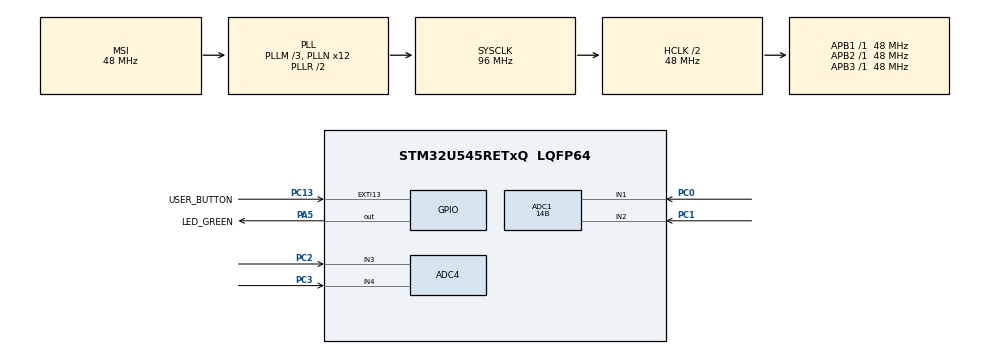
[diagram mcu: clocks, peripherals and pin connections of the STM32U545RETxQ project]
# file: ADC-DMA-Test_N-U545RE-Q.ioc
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ADC1.Channel-0\#ChannelRegularConversion=ADC_CHANNEL_VREFINT
ADC1.Channel-1\#ChannelRegularConversion=ADC_CHANNEL_1
ADC1.Channel-2\#ChannelRegularConversion=ADC_CHANNEL_2
ADC1.Channel-3\#ChannelRegularConversion=ADC_CHANNEL_TEMPSENSOR
ADC1.ContinuousConvMode=ENABLE
ADC1.ConversionDataManagement=ADC_CONVERSIONDATA_DMA_CIRCULAR
ADC1.DMAContinuousRequests=ENABLE
ADC1.MonitoredBy-0\#ChannelRegularConversion=__NULL
ADC1.MonitoredBy-1\#ChannelRegularConversion=__NULL
ADC1.MonitoredBy-2\#ChannelRegularConversion=__NULL
ADC1.MonitoredBy-3\#ChannelRegularConversion=__NULL
ADC1.NbrOfConversion=4
ADC1.NbrOfConversionFlag=1
ADC1.OffsetNumber-0\#ChannelRegularConversion=ADC_OFFSET_NONE
ADC1.OffsetNumber-1\#ChannelRegularConversion=ADC_OFFSET_NONE
ADC1.OffsetNumber-2\#ChannelRegularConversion=ADC_OFFSET_NONE
ADC1.OffsetNumber-3\#ChannelRegularConversion=ADC_OFFSET_NONE
ADC1.Overrun=ADC_OVR_DATA_OVERWRITTEN
ADC1.Rank-0\#ChannelRegularConversion=1
ADC1.Rank-1\#ChannelRegularConversion=2
ADC1.Rank-2\#ChannelRegularConversion=3
ADC1.Rank-3\#ChannelRegularConversion=4
ADC1.Resolution=ADC_RESOLUTION_14B
ADC1.SamplingTime-0\#ChannelRegularConversion=ADC_SAMPLETIME_814CYCLES
ADC1.SamplingTime-1\#ChannelRegularConversion=ADC_SAMPLETIME_814CYCLES
ADC1.SamplingTime-2\#ChannelRegularConversion=ADC_SAMPLETIME_814CYCLES
ADC1.SamplingTime-3\#ChannelRegularConversion=ADC_SAMPLETIME_814CYCLES
ADC1.TriggerFrequencyMode=ADC_TRIGGER_FREQ_LOW
ADC1.master=1
ADC4.Channel-0\#ChannelRegularConversion=ADC_CHANNEL_3
ADC4.Channel-1\#ChannelRegularConversion=ADC_CHANNEL_4
ADC4.ContinuousConvMode=ENABLE
ADC4.DMAContinuousRequests=ENABLE
ADC4.EOCSelection=ADC_EOC_SEQ_CONV
ADC4.NbrOfConversion=2
ADC4.NbrOfConversionFlag=1
ADC4.OffsetNumber-0\#ChannelRegularConversion=ADC_OFFSET_NONE
ADC4.OffsetNumber-1\#ChannelRegularConversion=ADC_OFFSET_NONE
ADC4.Overrun=ADC_OVR_DATA_OVERWRITTEN
ADC4.Rank-0\#ChannelRegularConversion=1
ADC4.Rank-1\#ChannelRegularConversion=2
ADC4.RankArg-0\#ChannelRegularConversion=ADC4_REGULAR_RANK_1
ADC4.RankArg-1\#ChannelRegularConversion=ADC4_REGULAR_RANK_2
ADC4.SamplingTime-0\#ChannelRegularConversion=ADC4_SAMPLINGTIME_COMMON_1
ADC4.SamplingTime-1\#ChannelRegularConversion=ADC4_SAMPLINGTIME_COMMON_1
ADC4.SamplingTimeCommon1=ADC4_SAMPLETIME_814CYCLES_5
ADC4.SamplingTimeCommon2=ADC4_SAMPLETIME_1CYCLE_5
ADC4.SelectedChannel=ADC_CHANNEL_3|ADC_CHANNEL_4
CORTEX_M33_NS.userName=CORTEX_M33
GPDMA1.CIRCULARMODE_GPDMACH0=ENABLE
GPDMA1.CIRCULARMODE_GPDMACH1=ENABLE
GPDMA1.DESTDATAWIDTH_GPDMACH0=DMA_DEST_DATAWIDTH_WORD
GPDMA1.DESTDATAWIDTH_GPDMACH1=DMA_DEST_DATAWIDTH_WORD
GPDMA1.DESTINC_GPDMACH0=DMA_DINC_INCREMENTED
GPDMA1.DESTINC_GPDMACH1=DMA_DINC_INCREMENTED
GPDMA1.IPHANDLE_GPDMACH0-SIMPLEREQUEST_GPDMACH0=__NULL
GPDMA1.IPHANDLE_GPDMACH1-SIMPLEREQUEST_GPDMACH1=__NULL
GPDMA1.REQUEST_GPDMACH0=GPDMA1_REQUEST_ADC4
GPDMA1.REQUEST_GPDMACH1=GPDMA1_REQUEST_ADC1
GPDMA1.SRCDATAWIDTH_GPDMACH0=DMA_SRC_DATAWIDTH_WORD
GPDMA1.SRCDATAWIDTH_GPDMACH1=DMA_SRC_DATAWIDTH_WORD
Mcu.Family=STM32U5
Mcu.Name=STM32U545RETxQ
Mcu.Package=LQFP64
NVIC.GPDMA1_Channel0_IRQn=true\:0\:0\:false\:false\:true\:true\:true\:true
NVIC.GPDMA1_Channel1_IRQn=true\:0\:0\:false\:false\:true\:true\:true\:true
NVIC.PriorityGroup=NVIC_PRIORITYGROUP_4
PA13\ (JTMS/SWDIO).Mode=Trace_Asynchronous_SW
PA13\ (JTMS/SWDIO).Signal=DEBUG_JTMS-SWDIO
PA14\ (JTCK/SWCLK).Mode=Trace_Asynchronous_SW
PA14\ (JTCK/SWCLK).Signal=DEBUG_JTCK-SWCLK
PA5.GPIO_Label=LED_GREEN
PA5.GPIO_PuPd=GPIO_PULLUP
PA5.GPIO_Speed=GPIO_SPEED_FREQ_HIGH
PA5.Signal=GPIO_Output
PB3\ (JTDO/TRACESWO).Mode=Trace_Asynchronous_SW
PB3\ (JTDO/TRACESWO).Signal=DEBUG_JTDO-SWO
PC0.Mode=IN1-Single-Ended
PC0.Signal=ADC1_IN1
PC1.Mode=IN2-Single-Ended
PC1.Signal=ADC1_IN2
PC13.GPIO_Label=USER_BUTTON
PC13.GPIO_ModeDefaultEXTI=GPIO_MODE_IT_FALLING
PC13.GPIO_PuPd=GPIO_PULLDOWN
PC13.Signal=GPXTI13
PC2.Mode=IN3
PC2.Signal=ADC4_IN3
PC3.Mode=IN4
PC3.Signal=ADC4_IN4
PWR.PowerMode=PWR_SMPS_SUPPLY
ProjectManager.HeapSize=0x200
ProjectManager.StackSize=0x400
ProjectManager.TargetToolchain=STM32CubeIDE
RCC.ADCCLockSelection=RCC_ADCDACCLKSOURCE_PLL2
RCC.ADCFreq_Value=4000000
RCC.AHBCLKDivider=RCC_SYSCLK_DIV2
RCC.AHBFreq_Value=48000000
RCC.APB1Freq_Value=48000000
RCC.APB1TimFreq_Value=48000000
RCC.APB2Freq_Value=48000000
RCC.APB2TimFreq_Value=48000000
RCC.APB3Freq_Value=48000000
RCC.CortexFreq_Value=48000000
RCC.DACCLockSelectionVirtual=RCC_DAC1CLKSOURCE_LSI
RCC.DACCLockSelectionVirtualString=RCC_DAC1CLKSOURCE_LSI
RCC.EPOD_VALUE=48000000
RCC.HCLKFreq_Value=48000000
RCC.HSE_VALUE=16000000
RCC.HSI48_VALUE=48000000
RCC.HSI_VALUE=16000000
RCC.LSE_VALUE=32768
RCC.LSIDIV_VALUE=32000
RCC.MSIClockRange=RCC_MSIRANGE_0
RCC.MSI_VALUE=48000000
RCC.PLL2FRACN=0
RCC.PLL2M=3
RCC.PLL2N=8
RCC.PLL2R=32
RCC.PLL3FRACN=0
RCC.PLLFRACN=0
RCC.PLLM=3
RCC.PLLN=12
RCC.SYSCLKFreq_VALUE=96000000
RCC.SYSCLKSource=RCC_SYSCLKSOURCE_PLLCLK
RCC.USBFreq_Value=48000000
RCC.VCOOutputFreq_Value=192000000
VP_ADC1_TempSens_Input.Mode=IN-TempSens
VP_ADC1_Vref_Input.Mode=IN-Vrefint
VP_GPDMA1_VS_GPDMACH0.Mode=SIMPLEREQUEST_GPDMACH0
VP_GPDMA1_VS_GPDMACH1.Mode=SIMPLEREQUEST_GPDMACH1
VP_ICACHE_VS_ICACHE.Mode=DirectMappedCache
VP_LPBAMQUEUE_VS_QUEUE.Mode=QUEUEMODE
VP_LPBAM_VS_SIG1.Mode=SmartRun
VP_LPBAM_VS_SIG4.Mode=LPDMA1
VP_MEMORYMAP_VS_MEMORYMAP.Mode=CurAppReg
VP_NUCLEO-U545RE-Q_VS_BSP_COMMON.Mode=COMMON
VP_PWR_VS_LPOM.Mode=PowerOptimisation
VP_PWR_VS_SECSignals.Mode=Security/Privilege
VP_PWR_Vdda.Mode=isolationVdda
board=NUCLEO-U545RE-Q

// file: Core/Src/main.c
/* USER CODE BEGIN Header */
/**
  ******************************************************************************
  * @file           : main.c
  * @brief          : Main program body
  ******************************************************************************
  * @attention
  *
  * Copyright (c) 2026 STMicroelectronics.
  * All rights reserved.
  *
  * This software is licensed under terms that can be found in the LICENSE file
  * in the root directory of this software component.
  * If no LICENSE file comes with this software, it is provided AS-IS.
  *
  ******************************************************************************
  */

/* USER CODE END Header */
#include "main.h"

/* USER CODE BEGIN PD */
#define ADC1ChannelCount 4
#define ADC4ChannelCount 2
#define AccValBufLen 100
/* USER CODE END PD */

ADC_HandleTypeDef hadc1;
ADC_HandleTypeDef hadc4;
DMA_NodeTypeDef Node_GPDMA1_Channel1;
DMA_QListTypeDef List_GPDMA1_Channel1;
DMA_HandleTypeDef handle_GPDMA1_Channel1;
DMA_NodeTypeDef Node_GPDMA1_Channel0;
DMA_QListTypeDef List_GPDMA1_Channel0;
DMA_HandleTypeDef handle_GPDMA1_Channel0;

/* USER CODE BEGIN PV */

uint32_t ADC1_res_buffer[ADC1ChannelCount*2]; // create a buffer with length equal to the Number of Conversions x 2 ; Word size = uint32_t
uint16_t ADC1_res_bkp_buffer[ADC1ChannelCount];
uint32_t ADC1_acc_val_buffer[ADC1ChannelCount]; //accumulated value
uint16_t  ADC1AccValBufCount;  // accumulate 100 maybe 1000 samples
uint32_t ADC1_acc_val_batch_buffer[ADC1ChannelCount];
uint16_t ADC1AccValBufBatchCount;
float ADC1_avg_val_buffer[ADC1ChannelCount];
float ADC1_pin_Volts_buffer[ADC1ChannelCount];

uint32_t cal_vref_data;
uint32_t vref_voltage_mv;
uint32_t vrefint_data;

uint32_t ADC1_ch1_raw;
uint32_t ADC1_ch1_mV;

uint32_t ADC1_ch2_raw;
uint32_t ADC1_ch2_mV;

uint32_t temp_raw;
int32_t temp_celsius;

uint32_t ADC4_res_buffer[ADC4ChannelCount*2]; // create a buffer with length equal to the Number of Conversions x 2 ; Word size = uint32_t
uint16_t ADC4_res_bkp_buffer[ADC4ChannelCount];
uint32_t ADC4_acc_val_buffer[ADC4ChannelCount]; //accumulated value
uint16_t  ADC4AccValBufCount;  // accumulate 100 maybe 1000 samples
uint32_t ADC4_acc_val_batch_buffer[ADC4ChannelCount];
uint16_t ADC4AccValBufBatchCount;
float ADC4_avg_val_buffer[ADC4ChannelCount];
float ADC4_pin_Volts_buffer[ADC4ChannelCount];

uint32_t ADC4_ch1_raw;
uint32_t ADC4_ch1_mV;

uint32_t ADC4_ch2_raw;
uint32_t ADC4_ch2_mV;

/* USER CODE END PV */

void SystemClock_Config(void);
void PeriphCommonClock_Config(void);
static void SystemPower_Config(void);
static void MX_GPIO_Init(void);
static void MX_GPDMA1_Init(void);
static void MX_ICACHE_Init(void);
static void MX_ADC1_Init(void);
static void MX_ADC4_Init(void);

int main(void)
{

  /* MCU Configuration--------------------------------------------------------*/

  /* Reset of all peripherals, Initializes the Flash interface and the Systick. */
  HAL_Init();

  /* Configure the System Power */
  SystemPower_Config();

  /* Configure the system clock */
  SystemClock_Config();

  /* Configure the peripherals common clocks */
  PeriphCommonClock_Config();

  /* Initialize all configured peripherals */
  MX_GPIO_Init();
  MX_GPDMA1_Init();
  MX_ICACHE_Init();
  MX_ADC1_Init();
  MX_ADC4_Init();
  /* USER CODE BEGIN 2 */
	HAL_Delay(2000);  // hopefully 2s is a long time in the MCU world for the ADC peripheral to power up and get ready for calibration
	HAL_ADCEx_Calibration_Start(&hadc1, ADC_CALIB_OFFSET, ADC_SINGLE_ENDED); // this is optional and uses internal calibration values programmed by the factory
	HAL_ADCEx_Calibration_Start(&hadc1, ADC_CALIB_OFFSET_LINEARITY, ADC_SINGLE_ENDED);
	HAL_ADCEx_Calibration_Start(&hadc4, ADC_CALIB_OFFSET, ADC_SINGLE_ENDED);
	HAL_ADCEx_Calibration_Start(&hadc4, ADC_CALIB_OFFSET_LINEARITY, ADC_SINGLE_ENDED);
	HAL_Delay(1000); // wait for things to settle down before starting the ADC process

	HAL_ADC_Start_DMA(&hadc1, ADC1_res_buffer, ADC1ChannelCount*2); // this actually starts the process: DMA-transfer the data stream from &hadc1 into ADC1_res_buffer, which holds 2 conversions
	HAL_ADC_Start_DMA(&hadc4, ADC4_res_buffer, ADC4ChannelCount*2);
  /* USER CODE END 2 */

  /* Infinite loop */
  /* USER CODE BEGIN WHILE */
  while (1)
  {
		if(ADC1AccValBufBatchCount>0)
		{
			for (int i=0; i<ADC1ChannelCount; i++)
			{
				ADC1_avg_val_buffer[i]=(ADC1_avg_val_buffer[i] + (((float)ADC1_acc_val_batch_buffer[i]/(float)ADC1AccValBufBatchCount)))/2.0;
				ADC1_acc_val_batch_buffer[i]=0;  // clear the accumulated value
			}
			ADC1AccValBufBatchCount=0;   // clear the accumulated count

	          // Calculate the VREF using VREFINT
			if(ADC1_avg_val_buffer[0]<1) // protect from divide by zero
			{
				vref_voltage_mv=0; //adcbufAvgValue[0] will ramp-up and VREF calc will ramp-down slowly due to ADC averaging delays
			}
			else
			{
				// Read calibration data into RAM first if ICache is on
				cal_vref_data = *(__IO uint32_t *)VREFINT_CAL_ADDR; // Example address

				vrefint_data = ADC1_avg_val_buffer[0];

				// Calculate voltage in mV
				vref_voltage_mv = __HAL_ADC_CALC_VREFANALOG_VOLTAGE(cal_vref_data, vrefint_data, ADC_RESOLUTION_14B);

				ADC1_ch1_raw =  ADC1_avg_val_buffer[1]; // Get raw ch1 reading
				ADC1_ch1_mV = __HAL_ADC_CALC_DATA_TO_VOLTAGE(&hadc1, vref_voltage_mv, ADC1_ch1_raw, ADC_RESOLUTION_14B); // Example ch1 calculation

				ADC1_ch2_raw =  ADC1_avg_val_buffer[2]; // Get raw ch1 reading
				ADC1_ch2_mV = __HAL_ADC_CALC_DATA_TO_VOLTAGE(&hadc1, vref_voltage_mv, ADC1_ch2_raw, ADC_RESOLUTION_14B); // Example ch1 calculation

				// Or for temperature:
				temp_raw = ADC1_avg_val_buffer[3]; // Get raw temp sensor reading
				temp_celsius = __HAL_ADC_CALC_TEMPERATURE(&hadc1, vref_voltage_mv, temp_raw, ADC_RESOLUTION_14B); // Example Temp calculation
			}

		}

		if(ADC4AccValBufBatchCount>0)
		{
			for (int i=0; i<ADC4ChannelCount; i++)
			{
				ADC4_avg_val_buffer[i]=(ADC4_avg_val_buffer[i] + (((float)ADC4_acc_val_batch_buffer[i]/(float)ADC4AccValBufBatchCount)))/2.0;
				ADC4_acc_val_batch_buffer[i]=0;  // clear the accumulated value
			}
			ADC4AccValBufBatchCount=0;   // clear the accumulated count

	          // Calculate the VREF using VREFINT
			if(ADC4_avg_val_buffer[0]<1) // protect from divide by zero
			{
				vref_voltage_mv=0; //adcbufAvgValue[0] will ramp-up and VREF calc will ramp-down slowly due to ADC averaging delays
			}
			else
			{
				ADC4_ch1_raw =  ADC4_avg_val_buffer[0]; // Get raw ch1 reading
				ADC4_ch1_mV = __HAL_ADC_CALC_DATA_TO_VOLTAGE(&hADC4, vref_voltage_mv, ADC4_ch1_raw, ADC_RESOLUTION_12B); // Example ch1 calculation

				ADC4_ch2_raw =  ADC4_avg_val_buffer[1]; // Get raw ch1 reading
				ADC4_ch2_mV = __HAL_ADC_CALC_DATA_TO_VOLTAGE(&hADC4, vref_voltage_mv, ADC4_ch2_raw, ADC_RESOLUTION_12B); // Example ch1 calculation
			}

		}

    /* USER CODE END WHILE */

  }
}

void SystemClock_Config(void)
{
  RCC_OscInitTypeDef RCC_OscInitStruct = {0};
  RCC_ClkInitTypeDef RCC_ClkInitStruct = {0};

  /** Configure the main internal regulator output voltage
  */
  if (HAL_PWREx_ControlVoltageScaling(PWR_REGULATOR_VOLTAGE_SCALE2) != HAL_OK)
  {
    Error_Handler();
  }

  /** Initializes the CPU, AHB and APB buses clocks
  */
  RCC_OscInitStruct.OscillatorType = RCC_OSCILLATORTYPE_MSI;
  RCC_OscInitStruct.MSIState = RCC_MSI_ON;
  RCC_OscInitStruct.MSICalibrationValue = RCC_MSICALIBRATION_DEFAULT;
  RCC_OscInitStruct.MSIClockRange = RCC_MSIRANGE_0;
  RCC_OscInitStruct.PLL.PLLState = RCC_PLL_ON;
  RCC_OscInitStruct.PLL.PLLSource = RCC_PLLSOURCE_MSI;
  RCC_OscInitStruct.PLL.PLLMBOOST = RCC_PLLMBOOST_DIV4;
  RCC_OscInitStruct.PLL.PLLM = 3;
  RCC_OscInitStruct.PLL.PLLN = 12;
  RCC_OscInitStruct.PLL.PLLP = 2;
  RCC_OscInitStruct.PLL.PLLQ = 2;
  RCC_OscInitStruct.PLL.PLLR = 2;
  RCC_OscInitStruct.PLL.PLLRGE = RCC_PLLVCIRANGE_1;
  RCC_OscInitStruct.PLL.PLLFRACN = 0;
  if (HAL_RCC_OscConfig(&RCC_OscInitStruct) != HAL_OK)
  {
    Error_Handler();
  }

  /** Initializes the CPU, AHB and APB buses clocks
  */
  RCC_ClkInitStruct.ClockType = RCC_CLOCKTYPE_HCLK|RCC_CLOCKTYPE_SYSCLK
                              |RCC_CLOCKTYPE_PCLK1|RCC_CLOCKTYPE_PCLK2
                              |RCC_CLOCKTYPE_PCLK3;
  RCC_ClkInitStruct.SYSCLKSource = RCC_SYSCLKSOURCE_PLLCLK;
  RCC_ClkInitStruct.AHBCLKDivider = RCC_SYSCLK_DIV2;
  RCC_ClkInitStruct.APB1CLKDivider = RCC_HCLK_DIV1;
  RCC_ClkInitStruct.APB2CLKDivider = RCC_HCLK_DIV1;
  RCC_ClkInitStruct.APB3CLKDivider = RCC_HCLK_DIV1;

  if (HAL_RCC_ClockConfig(&RCC_ClkInitStruct, FLASH_LATENCY_1) != HAL_OK)
  {
    Error_Handler();
  }
}

void PeriphCommonClock_Config(void)
{
  RCC_PeriphCLKInitTypeDef PeriphClkInit = {0};

  /** Initializes the common periph clock
  */
  PeriphClkInit.PeriphClockSelection = RCC_PERIPHCLK_ADCDAC;
  PeriphClkInit.AdcDacClockSelection = RCC_ADCDACCLKSOURCE_PLL2;
  PeriphClkInit.PLL2.PLL2Source = RCC_PLLSOURCE_MSI;
  PeriphClkInit.PLL2.PLL2M = 3;
  PeriphClkInit.PLL2.PLL2N = 8;
  PeriphClkInit.PLL2.PLL2P = 2;
  PeriphClkInit.PLL2.PLL2Q = 2;
  PeriphClkInit.PLL2.PLL2R = 32;
  PeriphClkInit.PLL2.PLL2RGE = RCC_PLLVCIRANGE_1;
  PeriphClkInit.PLL2.PLL2FRACN = 0;
  PeriphClkInit.PLL2.PLL2ClockOut = RCC_PLL2_DIVR;
  if (HAL_RCCEx_PeriphCLKConfig(&PeriphClkInit) != HAL_OK)
  {
    Error_Handler();
  }
}

/**
  * @brief Power Configuration
  * @retval None
  */
static void SystemPower_Config(void)
{

  /*
   * Switch to SMPS regulator instead of LDO
   */
  if (HAL_PWREx_ConfigSupply(PWR_SMPS_SUPPLY) != HAL_OK)
  {
    Error_Handler();
  }
}

static void MX_ADC1_Init(void)
{

  ADC_ChannelConfTypeDef sConfig = {0};

  /** Common config
  */
  hadc1.Instance = ADC1;
  hadc1.Init.ClockPrescaler = ADC_CLOCK_ASYNC_DIV1;
  hadc1.Init.Resolution = ADC_RESOLUTION_14B;
  hadc1.Init.GainCompensation = 0;
  hadc1.Init.DataAlign = ADC_DATAALIGN_RIGHT;
  hadc1.Init.ScanConvMode = ADC_SCAN_ENABLE;
  hadc1.Init.EOCSelection = ADC_EOC_SINGLE_CONV;
  hadc1.Init.LowPowerAutoWait = DISABLE;
  hadc1.Init.ContinuousConvMode = ENABLE;
  hadc1.Init.NbrOfConversion = 4;
  hadc1.Init.DiscontinuousConvMode = DISABLE;
  hadc1.Init.ExternalTrigConv = ADC_SOFTWARE_START;
  hadc1.Init.ExternalTrigConvEdge = ADC_EXTERNALTRIGCONVEDGE_NONE;
  hadc1.Init.DMAContinuousRequests = ENABLE;
  hadc1.Init.TriggerFrequencyMode = ADC_TRIGGER_FREQ_LOW;
  hadc1.Init.Overrun = ADC_OVR_DATA_OVERWRITTEN;
  hadc1.Init.LeftBitShift = ADC_LEFTBITSHIFT_NONE;
  hadc1.Init.ConversionDataManagement = ADC_CONVERSIONDATA_DMA_CIRCULAR;
  hadc1.Init.OversamplingMode = DISABLE;
  if (HAL_ADC_Init(&hadc1) != HAL_OK)
  {
    Error_Handler();
  }

  /** Configure Regular Channel
  */
  sConfig.Channel = ADC_CHANNEL_VREFINT;
  sConfig.Rank = ADC_REGULAR_RANK_1;
  sConfig.SamplingTime = ADC_SAMPLETIME_814CYCLES;
  sConfig.SingleDiff = ADC_SINGLE_ENDED;
  sConfig.OffsetNumber = ADC_OFFSET_NONE;
  sConfig.Offset = 0;
  if (HAL_ADC_ConfigChannel(&hadc1, &sConfig) != HAL_OK)
  {
    Error_Handler();
  }

  /** Configure Regular Channel
  */
  sConfig.Channel = ADC_CHANNEL_1;
  sConfig.Rank = ADC_REGULAR_RANK_2;
  if (HAL_ADC_ConfigChannel(&hadc1, &sConfig) != HAL_OK)
  {
    Error_Handler();
  }

  /** Configure Regular Channel
  */
  sConfig.Channel = ADC_CHANNEL_2;
  sConfig.Rank = ADC_REGULAR_RANK_3;
  if (HAL_ADC_ConfigChannel(&hadc1, &sConfig) != HAL_OK)
  {
    Error_Handler();
  }

  /** Configure Regular Channel
  */
  sConfig.Channel = ADC_CHANNEL_TEMPSENSOR;
  sConfig.Rank = ADC_REGULAR_RANK_4;
  if (HAL_ADC_ConfigChannel(&hadc1, &sConfig) != HAL_OK)
  {
    Error_Handler();
  }

}

static void MX_ADC4_Init(void)
{

  ADC_ChannelConfTypeDef sConfig = {0};

  /** Common config
  */
  hadc4.Instance = ADC4;
  hadc4.Init.ClockPrescaler = ADC_CLOCK_ASYNC_DIV1;
  hadc4.Init.Resolution = ADC_RESOLUTION_12B;
  hadc4.Init.DataAlign = ADC_DATAALIGN_RIGHT;
  hadc4.Init.ScanConvMode = ADC4_SCAN_ENABLE;
  hadc4.Init.EOCSelection = ADC_EOC_SEQ_CONV;
  hadc4.Init.LowPowerAutoPowerOff = ADC_LOW_POWER_NONE;
  hadc4.Init.LowPowerAutoWait = DISABLE;
  hadc4.Init.ContinuousConvMode = ENABLE;
  hadc4.Init.NbrOfConversion = 2;
  hadc4.Init.ExternalTrigConv = ADC_SOFTWARE_START;
  hadc4.Init.ExternalTrigConvEdge = ADC_EXTERNALTRIGCONVEDGE_NONE;
  hadc4.Init.DMAContinuousRequests = ENABLE;
  hadc4.Init.TriggerFrequencyMode = ADC_TRIGGER_FREQ_LOW;
  hadc4.Init.Overrun = ADC_OVR_DATA_OVERWRITTEN;
  hadc4.Init.SamplingTimeCommon1 = ADC4_SAMPLETIME_814CYCLES_5;
  hadc4.Init.SamplingTimeCommon2 = ADC4_SAMPLETIME_1CYCLE_5;
  hadc4.Init.OversamplingMode = DISABLE;
  if (HAL_ADC_Init(&hadc4) != HAL_OK)
  {
    Error_Handler();
  }

  /** Configure Regular Channel
  */
  sConfig.Channel = ADC_CHANNEL_3;
  sConfig.Rank = ADC4_REGULAR_RANK_1;
  sConfig.SamplingTime = ADC4_SAMPLINGTIME_COMMON_1;
  sConfig.OffsetNumber = ADC_OFFSET_NONE;
  sConfig.Offset = 0;
  if (HAL_ADC_ConfigChannel(&hadc4, &sConfig) != HAL_OK)
  {
    Error_Handler();
  }

  /** Configure Regular Channel
  */
  sConfig.Channel = ADC_CHANNEL_4;
  sConfig.Rank = ADC4_REGULAR_RANK_2;
  if (HAL_ADC_ConfigChannel(&hadc4, &sConfig) != HAL_OK)
  {
    Error_Handler();
  }

}

static void MX_GPDMA1_Init(void)
{

  /* Peripheral clock enable */
  __HAL_RCC_GPDMA1_CLK_ENABLE();

  /* GPDMA1 interrupt Init */
    HAL_NVIC_SetPriority(GPDMA1_Channel0_IRQn, 0, 0);
    HAL_NVIC_EnableIRQ(GPDMA1_Channel0_IRQn);
    HAL_NVIC_SetPriority(GPDMA1_Channel1_IRQn, 0, 0);
    HAL_NVIC_EnableIRQ(GPDMA1_Channel1_IRQn);

}

static void MX_ICACHE_Init(void)
{

  /** Enable instruction cache in 1-way (direct mapped cache)
  */
  if (HAL_ICACHE_ConfigAssociativityMode(ICACHE_1WAY) != HAL_OK)
  {
    Error_Handler();
  }
  if (HAL_ICACHE_Enable() != HAL_OK)
  {
    Error_Handler();
  }

}

static void MX_GPIO_Init(void)
{
  GPIO_InitTypeDef GPIO_InitStruct = {0};

  /* GPIO Ports Clock Enable */
  __HAL_RCC_GPIOC_CLK_ENABLE();
  __HAL_RCC_GPIOA_CLK_ENABLE();
  __HAL_RCC_GPIOB_CLK_ENABLE();

  /*Configure GPIO pin Output Level */
  HAL_GPIO_WritePin(LED_GREEN_GPIO_Port, LED_GREEN_Pin, GPIO_PIN_RESET);

  /*Configure GPIO pin : USER_BUTTON_Pin */
  GPIO_InitStruct.Pin = USER_BUTTON_Pin;
  GPIO_InitStruct.Mode = GPIO_MODE_IT_FALLING;
  GPIO_InitStruct.Pull = GPIO_PULLDOWN;
  HAL_GPIO_Init(USER_BUTTON_GPIO_Port, &GPIO_InitStruct);

  /*Configure GPIO pin : LED_GREEN_Pin */
  GPIO_InitStruct.Pin = LED_GREEN_Pin;
  GPIO_InitStruct.Mode = GPIO_MODE_OUTPUT_PP;
  GPIO_InitStruct.Pull = GPIO_PULLUP;
  GPIO_InitStruct.Speed = GPIO_SPEED_FREQ_HIGH;
  HAL_GPIO_Init(LED_GREEN_GPIO_Port, &GPIO_InitStruct);

}

/* USER CODE BEGIN 4 */

// Called when first half of adc buffer is filled
void HAL_ADC_ConvHalfCpltCallback(ADC_HandleTypeDef* hadc)
{

	if(hadc->Instance == ADC1)
	{
			for (int i=0; i<ADC1ChannelCount ; i++)
			{
			  ADC1_acc_val_buffer[i]=ADC1_acc_val_buffer[i]+ADC1_res_buffer[i]; // moved all heavy lifting to 100ms timer loop
			  ADC1_res_bkp_buffer[i]=(uint16_t)ADC1_res_buffer[i];  // for viewing the instantaneous value only
			}

			ADC1AccValBufCount++;
			if(ADC1AccValBufCount>=AccValBufLen)
			{
				for (int i=0; i<ADC1ChannelCount; i++)
				{
					ADC1_acc_val_batch_buffer[i]=ADC1_acc_val_buffer[i]; // hand-over for processing in less critical threads
					ADC1_acc_val_buffer[i]=0;  // clear the accumulated value
				}
				ADC1AccValBufBatchCount=ADC1AccValBufCount; // hand-over for processing  in less critical threads
				ADC1AccValBufCount=0;   // clear the accumulated count
			}
	}

	if(hadc->Instance == ADC4)
	{
			for (int i=0; i<ADC4ChannelCount ; i++)
			{
			  ADC4_acc_val_buffer[i]=ADC4_acc_val_buffer[i]+ADC4_res_buffer[i]; // moved all heavy lifting to 100ms timer loop
			  ADC4_res_bkp_buffer[i]=(uint16_t)ADC4_res_buffer[i];  // for viewing the instantaneous value only
			}

			ADC4AccValBufCount++;
			if(ADC4AccValBufCount>=AccValBufLen)
			{
				for (int i=0; i<ADC4ChannelCount; i++)
				{
					ADC4_acc_val_batch_buffer[i]=ADC4_acc_val_buffer[i]; // hand-over for processing in less critical threads
					ADC4_acc_val_buffer[i]=0;  // clear the accumulated value
				}
				ADC4AccValBufBatchCount=ADC4AccValBufCount; // hand-over for processing  in less critical threads
				ADC4AccValBufCount=0;   // clear the accumulated count
			}
	}

}

// Called when adc buffer is completely filled
void HAL_ADC_ConvCpltCallback(ADC_HandleTypeDef* hadc)
{

	if(hadc->Instance == ADC1)
	{
		for (int i=0; i<ADC1ChannelCount; i++)
		{
		  ADC1_acc_val_buffer[i]=ADC1_acc_val_buffer[i]+ADC1_res_buffer[ADC1ChannelCount+i]; // moved all heavy lifting to 100ms timer loop
		  ADC1_res_bkp_buffer[i]=(uint16_t)ADC1_res_buffer[ADC1ChannelCount+i];  // for viewing the instantaneous value only
		}

		ADC1AccValBufCount++;
		if(ADC1AccValBufCount>=AccValBufLen)
		{
			for (int i=0; i<ADC1ChannelCount; i++)
			{
				ADC1_acc_val_batch_buffer[i]=ADC1_acc_val_buffer[i]; // hand-over for processing  in less critical threads
				ADC1_acc_val_buffer[i]=0;  // clear the accumulated value
			}
			ADC1AccValBufBatchCount=ADC1AccValBufCount; // hand-over for processing  in less critical threads
			ADC1AccValBufCount=0;   // clear the accumulated count
		}
	}

	if(hadc->Instance == ADC4)
	{
		for (int i=0; i<ADC4ChannelCount; i++)
		{
		  ADC4_acc_val_buffer[i]=ADC4_acc_val_buffer[i]+ADC4_res_buffer[ADC4ChannelCount+i]; // moved all heavy lifting to 100ms timer loop
		  ADC4_res_bkp_buffer[i]=(uint16_t)ADC4_res_buffer[ADC4ChannelCount+i];  // for viewing the instantaneous value only
		}

		ADC4AccValBufCount++;
		if(ADC4AccValBufCount>=AccValBufLen)
		{
			for (int i=0; i<ADC4ChannelCount; i++)
			{
				ADC4_acc_val_batch_buffer[i]=ADC4_acc_val_buffer[i]; // hand-over for processing  in less critical threads
				ADC4_acc_val_buffer[i]=0;  // clear the accumulated value
			}
			ADC4AccValBufBatchCount=ADC4AccValBufCount; // hand-over for processing  in less critical threads
			ADC4AccValBufCount=0;   // clear the accumulated count
		}
	}
}

/* USER CODE END 4 */

void Error_Handler(void)
{
  __disable_irq();
  while (1)
  {
  }
}
